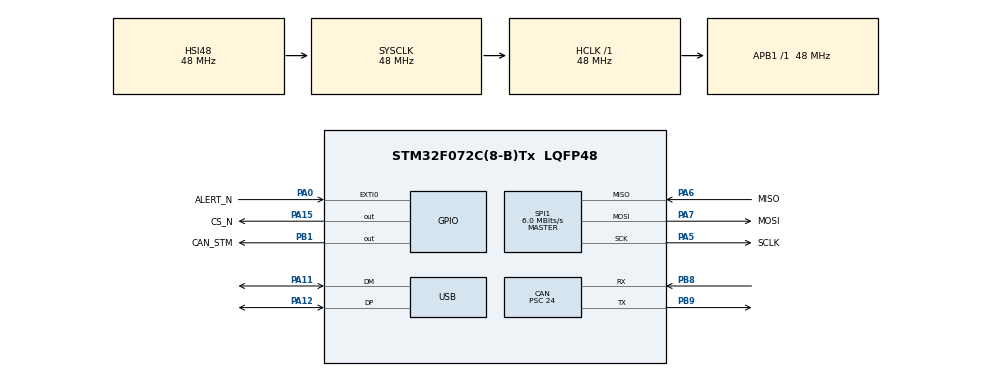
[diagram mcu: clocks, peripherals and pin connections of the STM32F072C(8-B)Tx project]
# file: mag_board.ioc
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CAN.BS1=CAN_BS1_11TQ
CAN.BS2=CAN_BS2_4TQ
CAN.CalculateBaudRate=125000
CAN.CalculateTimeBit=8000
CAN.CalculateTimeQuantum=500.0
CAN.Prescaler=24
CAN.SJW=CAN_SJW_4TQ
Mcu.Family=STM32F0
Mcu.Name=STM32F072C(8-B)Tx
Mcu.Package=LQFP48
NVIC.EXTI0_1_IRQn=true\:0\:0\:false\:false\:true\:true\:true\:true
NVIC.USB_IRQn=true\:0\:0\:false\:false\:true\:false\:true\:true
PA0.GPIO_Label=ALERT_N
PA0.GPIO_ModeDefaultEXTI=GPIO_MODE_IT_FALLING
PA0.Signal=GPXTI0
PA11.Mode=Device
PA11.Signal=USB_DM
PA12.Mode=Device
PA12.Signal=USB_DP
PA13.Mode=Serial_Wire
PA13.Signal=SYS_SWDIO
PA14.Mode=Serial_Wire
PA14.Signal=SYS_SWCLK
PA15.GPIO_Label=CS_N
PA15.PinState=GPIO_PIN_SET
PA15.Signal=GPIO_Output
PA5.GPIO_Label=SCLK
PA5.Mode=Full_Duplex_Master
PA5.Signal=SPI1_SCK
PA6.GPIO_Label=MISO
PA6.Mode=Full_Duplex_Master
PA6.Signal=SPI1_MISO
PA7.GPIO_Label=MOSI
PA7.Mode=Full_Duplex_Master
PA7.Signal=SPI1_MOSI
PB1.GPIO_Label=CAN_STM
PB1.Signal=GPIO_Output
PB8.Mode=CAN_Activate
PB8.Signal=CAN_RX
PB9.Mode=CAN_Activate
PB9.Signal=CAN_TX
ProjectManager.HeapSize=0x200
ProjectManager.StackSize=0x400
ProjectManager.TargetToolchain=CMake
RCC.AHBFreq_Value=48000000
RCC.APB1Freq_Value=48000000
RCC.APB1TimFreq_Value=48000000
RCC.HCLKFreq_Value=48000000
RCC.SYSCLKFreq_VALUE=48000000
RCC.SYSCLKSource=RCC_SYSCLKSOURCE_HSI48
SPI1.BaudRatePrescaler=SPI_BAUDRATEPRESCALER_8
SPI1.CLKPhase=SPI_PHASE_1EDGE
SPI1.CalculateBaudRate=6.0 MBits/s
SPI1.DataSize=SPI_DATASIZE_8BIT
SPI1.Direction=SPI_DIRECTION_2LINES
SPI1.Mode=SPI_MODE_MASTER
SPI1.NSSPMode=SPI_NSS_PULSE_DISABLE
SPI1.VirtualType=VM_MASTER
USB_DEVICE.CLASS_NAME_FS=CDC
USB_DEVICE.VirtualMode=Cdc
USB_DEVICE.VirtualModeFS=Cdc_FS
VP_RCC_USB.Mode=CRS SYNC Source USB
VP_USB_DEVICE_VS_USB_DEVICE_CDC_FS.Mode=CDC_FS
board=custom

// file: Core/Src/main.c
/* USER CODE BEGIN Header */
/**
  ******************************************************************************
  * @file           : main.c
  * @brief          : Main program body
  ******************************************************************************
  * @attention
  *
  * Copyright (c) 2026 STMicroelectronics.
  * All rights reserved.
  *
  * This software is licensed under terms that can be found in the LICENSE file
  * in the root directory of this software component.
  * If no LICENSE file comes with this software, it is provided AS-IS.
  *
  ******************************************************************************
  */
/* USER CODE END Header */
#include "main.h"
#include "usb_device.h"

/* USER CODE BEGIN Includes */
#include "startup_checks.h"
#include "spi_suite.h"
#include "can_suite.h"
#include "mag_app.h"

/* USER CODE END Includes */

CAN_HandleTypeDef hcan;

SPI_HandleTypeDef hspi1;

/* USER CODE BEGIN PV */
volatile uint32_t startup_fail_mask = 0; // startup_fail_t bits, 0 = all checks passed
volatile uint8_t mag_alert = 0; // set by ALERT_N falling edge, clear after handling

/* USER CODE END PV */

void SystemClock_Config(void);
static void MX_GPIO_Init(void);
static void MX_CAN_Init(void);
static void MX_SPI1_Init(void);

int main(void)
{

  /* MCU Configuration--------------------------------------------------------*/

  /* Reset of all peripherals, Initializes the Flash interface and the Systick. */
  HAL_Init();

  /* Configure the system clock */
  SystemClock_Config();

  /* Initialize all configured peripherals */
  MX_GPIO_Init();
  MX_CAN_Init();
  MX_SPI1_Init();
  MX_USB_DEVICE_Init();
  /* USER CODE BEGIN 2 */
  startup_fail_mask = startup_checks_run();
#if defined(MAG_BOARD_TEST_SPI)
  spi_suite_run(startup_fail_mask);
#elif defined(MAG_BOARD_TEST_CAN)
  can_suite_run(startup_fail_mask);
#else
  mag_app_init(startup_fail_mask);
#endif

  // ALERT_N may already be low from before EXTI was enabled (no edge to catch)
  if (HAL_GPIO_ReadPin(ALERT_N_GPIO_Port, ALERT_N_Pin) == GPIO_PIN_RESET)
  {
    mag_alert = 1;
  }

  /* USER CODE END 2 */

  /* Infinite loop */
  while (1)
  {

    /* USER CODE BEGIN 3 */
#if defined(MAG_BOARD_TEST_SPI)
    spi_suite_poll();
#elif defined(MAG_BOARD_TEST_CAN)
    can_suite_poll();
#else
    mag_app_poll();
#endif
  }
  /* USER CODE END 3 */
}

void SystemClock_Config(void)
{
  RCC_OscInitTypeDef RCC_OscInitStruct = {0};
  RCC_ClkInitTypeDef RCC_ClkInitStruct = {0};
  RCC_PeriphCLKInitTypeDef PeriphClkInit = {0};
  RCC_CRSInitTypeDef RCC_CRSInitStruct = {0};

  /** Initializes the RCC Oscillators according to the specified parameters
  * in the RCC_OscInitTypeDef structure.
  */
  RCC_OscInitStruct.OscillatorType = RCC_OSCILLATORTYPE_HSI48;
  RCC_OscInitStruct.HSI48State = RCC_HSI48_ON;
  RCC_OscInitStruct.PLL.PLLState = RCC_PLL_NONE;
  if (HAL_RCC_OscConfig(&RCC_OscInitStruct) != HAL_OK)
  {
    Error_Handler();
  }

  /** Initializes the CPU, AHB and APB buses clocks
  */
  RCC_ClkInitStruct.ClockType = RCC_CLOCKTYPE_HCLK|RCC_CLOCKTYPE_SYSCLK
                              |RCC_CLOCKTYPE_PCLK1;
  RCC_ClkInitStruct.SYSCLKSource = RCC_SYSCLKSOURCE_HSI48;
  RCC_ClkInitStruct.AHBCLKDivider = RCC_SYSCLK_DIV1;
  RCC_ClkInitStruct.APB1CLKDivider = RCC_HCLK_DIV1;

  if (HAL_RCC_ClockConfig(&RCC_ClkInitStruct, FLASH_LATENCY_1) != HAL_OK)
  {
    Error_Handler();
  }
  PeriphClkInit.PeriphClockSelection = RCC_PERIPHCLK_USB;
  PeriphClkInit.UsbClockSelection = RCC_USBCLKSOURCE_HSI48;

  if (HAL_RCCEx_PeriphCLKConfig(&PeriphClkInit) != HAL_OK)
  {
    Error_Handler();
  }

  /** Enable the SYSCFG APB clock
  */
  __HAL_RCC_CRS_CLK_ENABLE();

  /** Configures CRS
  */
  RCC_CRSInitStruct.Prescaler = RCC_CRS_SYNC_DIV1;
  RCC_CRSInitStruct.Source = RCC_CRS_SYNC_SOURCE_USB;
  RCC_CRSInitStruct.Polarity = RCC_CRS_SYNC_POLARITY_RISING;
  RCC_CRSInitStruct.ReloadValue = __HAL_RCC_CRS_RELOADVALUE_CALCULATE(48000000,1000);
  RCC_CRSInitStruct.ErrorLimitValue = 34;
  RCC_CRSInitStruct.HSI48CalibrationValue = 32;

  HAL_RCCEx_CRSConfig(&RCC_CRSInitStruct);
}

static void MX_CAN_Init(void)
{

  hcan.Instance = CAN;
  hcan.Init.Prescaler = 24;
  hcan.Init.Mode = CAN_MODE_NORMAL;
  hcan.Init.SyncJumpWidth = CAN_SJW_4TQ;
  hcan.Init.TimeSeg1 = CAN_BS1_11TQ;
  hcan.Init.TimeSeg2 = CAN_BS2_4TQ;
  hcan.Init.TimeTriggeredMode = DISABLE;
  hcan.Init.AutoBusOff = DISABLE;
  hcan.Init.AutoWakeUp = DISABLE;
  hcan.Init.AutoRetransmission = DISABLE;
  hcan.Init.ReceiveFifoLocked = DISABLE;
  hcan.Init.TransmitFifoPriority = DISABLE;
  if (HAL_CAN_Init(&hcan) != HAL_OK)
  {
    Error_Handler();
  }

}

static void MX_SPI1_Init(void)
{

  /* SPI1 parameter configuration*/
  hspi1.Instance = SPI1;
  hspi1.Init.Mode = SPI_MODE_MASTER;
  hspi1.Init.Direction = SPI_DIRECTION_2LINES;
  hspi1.Init.DataSize = SPI_DATASIZE_8BIT;
  hspi1.Init.CLKPolarity = SPI_POLARITY_LOW;
  hspi1.Init.CLKPhase = SPI_PHASE_1EDGE;
  hspi1.Init.NSS = SPI_NSS_SOFT;
  hspi1.Init.BaudRatePrescaler = SPI_BAUDRATEPRESCALER_8;
  hspi1.Init.FirstBit = SPI_FIRSTBIT_MSB;
  hspi1.Init.TIMode = SPI_TIMODE_DISABLE;
  hspi1.Init.CRCCalculation = SPI_CRCCALCULATION_DISABLE;
  hspi1.Init.CRCPolynomial = 7;
  hspi1.Init.CRCLength = SPI_CRC_LENGTH_DATASIZE;
  hspi1.Init.NSSPMode = SPI_NSS_PULSE_DISABLE;
  if (HAL_SPI_Init(&hspi1) != HAL_OK)
  {
    Error_Handler();
  }

}

static void MX_GPIO_Init(void)
{
  GPIO_InitTypeDef GPIO_InitStruct = {0};

  /* GPIO Ports Clock Enable */
  __HAL_RCC_GPIOA_CLK_ENABLE();
  __HAL_RCC_GPIOB_CLK_ENABLE();

  /*Configure GPIO pin Output Level */
  HAL_GPIO_WritePin(CAN_STM_GPIO_Port, CAN_STM_Pin, GPIO_PIN_RESET);

  /*Configure GPIO pin Output Level */
  HAL_GPIO_WritePin(CS_N_GPIO_Port, CS_N_Pin, GPIO_PIN_SET);

  /*Configure GPIO pin : ALERT_N_Pin */
  GPIO_InitStruct.Pin = ALERT_N_Pin;
  GPIO_InitStruct.Mode = GPIO_MODE_IT_FALLING;
  GPIO_InitStruct.Pull = GPIO_NOPULL;
  HAL_GPIO_Init(ALERT_N_GPIO_Port, &GPIO_InitStruct);

  /*Configure GPIO pin : CAN_STM_Pin */
  GPIO_InitStruct.Pin = CAN_STM_Pin;
  GPIO_InitStruct.Mode = GPIO_MODE_OUTPUT_PP;
  GPIO_InitStruct.Pull = GPIO_NOPULL;
  GPIO_InitStruct.Speed = GPIO_SPEED_FREQ_LOW;
  HAL_GPIO_Init(CAN_STM_GPIO_Port, &GPIO_InitStruct);

  /*Configure GPIO pin : CS_N_Pin */
  GPIO_InitStruct.Pin = CS_N_Pin;
  GPIO_InitStruct.Mode = GPIO_MODE_OUTPUT_PP;
  GPIO_InitStruct.Pull = GPIO_NOPULL;
  GPIO_InitStruct.Speed = GPIO_SPEED_FREQ_LOW;
  HAL_GPIO_Init(CS_N_GPIO_Port, &GPIO_InitStruct);

  /* EXTI interrupt init*/
  HAL_NVIC_SetPriority(EXTI0_1_IRQn, 0, 0);
  HAL_NVIC_EnableIRQ(EXTI0_1_IRQn);

}

/* USER CODE BEGIN 4 */
void HAL_GPIO_EXTI_Callback(uint16_t GPIO_Pin)
{
  if (GPIO_Pin == ALERT_N_Pin)
  {
    mag_alert = 1;
  }
}

/* USER CODE END 4 */

void Error_Handler(void)
{
  __disable_irq();
  while (1)
  {
  }
}
